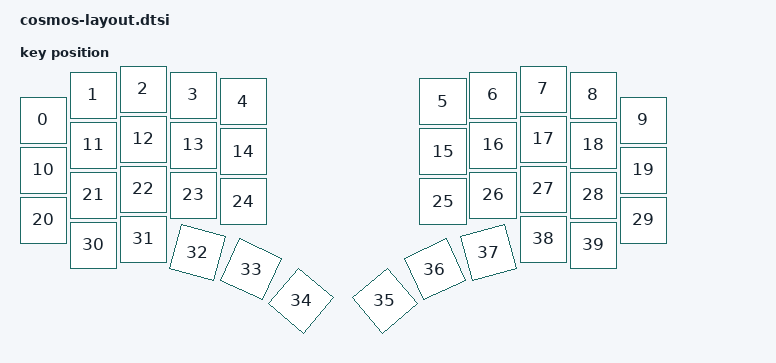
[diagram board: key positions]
#include <physical_layouts.dtsi>

/ {
    physical_layout0: physical_layout_0 {
        compatible = "zmk,physical-layout";
        display-name = "Default";

        transform = <&default_transform>;

        keys  //                     w   h    x    y     rot    rx    ry
            = <&key_physical_attrs 100 100    0   62       0     0     0>
            , <&key_physical_attrs 100 100  100   12       0     0     0>
            , <&key_physical_attrs 100 100  200    0       0     0     0>
            , <&key_physical_attrs 100 100  300   12       0     0     0>
            , <&key_physical_attrs 100 100  400   25       0     0     0>
            , <&key_physical_attrs 100 100  800   25       0     0     0>
            , <&key_physical_attrs 100 100  900   12       0     0     0>
            , <&key_physical_attrs 100 100 1000    0       0     0     0>
            , <&key_physical_attrs 100 100 1100   12       0     0     0>
            , <&key_physical_attrs 100 100 1200   62       0     0     0>
            , <&key_physical_attrs 100 100    0  162       0     0     0>
            , <&key_physical_attrs 100 100  100  112       0     0     0>
            , <&key_physical_attrs 100 100  200  100       0     0     0>
            , <&key_physical_attrs 100 100  300  112       0     0     0>
            , <&key_physical_attrs 100 100  400  125       0     0     0>
            , <&key_physical_attrs 100 100  800  125       0     0     0>
            , <&key_physical_attrs 100 100  900  112       0     0     0>
            , <&key_physical_attrs 100 100 1000  100       0     0     0>
            , <&key_physical_attrs 100 100 1100  112       0     0     0>
            , <&key_physical_attrs 100 100 1200  162       0     0     0>
            , <&key_physical_attrs 100 100    0  262       0     0     0>
            , <&key_physical_attrs 100 100  100  212       0     0     0>
            , <&key_physical_attrs 100 100  200  200       0     0     0>
            , <&key_physical_attrs 100 100  300  212       0     0     0>
            , <&key_physical_attrs 100 100  400  225       0     0     0>
            , <&key_physical_attrs 100 100  800  225       0     0     0>
            , <&key_physical_attrs 100 100  900  212       0     0     0>
            , <&key_physical_attrs 100 100 1000  200       0     0     0>
            , <&key_physical_attrs 100 100 1100  212       0     0     0>
            , <&key_physical_attrs 100 100 1200  262       0     0     0>
            , <&key_physical_attrs 100 100  100  312       0     0     0>
            , <&key_physical_attrs 100 100  200  300       0     0     0>
            , <&key_physical_attrs 100 100  200  325    1500   298   790>
            , <&key_physical_attrs 100 100  240  325    2500   298   790>
            , <&key_physical_attrs 100 100  250  325    4000   298   790>
            , <&key_physical_attrs 100 100  950  325 (-4000)  1002   790>
            , <&key_physical_attrs 100 100  960  325 (-2500)  1002   790>
            , <&key_physical_attrs 100 100 1000  325 (-1500)  1002   790>
            , <&key_physical_attrs 100 100 1000  300       0     0     0>
            , <&key_physical_attrs 100 100 1100  312       0     0     0>
            ;
    };

};

